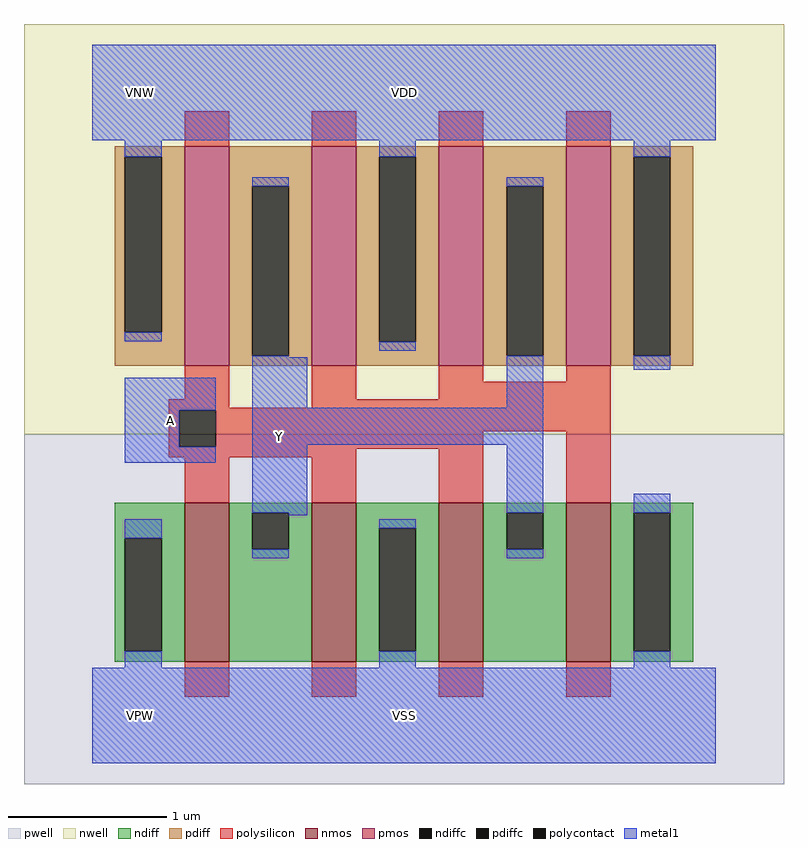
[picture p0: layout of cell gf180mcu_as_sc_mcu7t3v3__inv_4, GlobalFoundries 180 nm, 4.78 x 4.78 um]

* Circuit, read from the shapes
.subckt gf180mcu_as_sc_mcu7t3v3__inv_4 VDD VNW VPW VSS Y A
XM1 Y A VSS VPW nfet_03v3 w=1u l=0.28u m=4
XM2 Y A VDD VNW pfet_03v3 w=1.38u l=0.28u m=4
.ends

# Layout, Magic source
magic
tech gf180mcuD
magscale 1 10
<< nwell >>
rect -86 354 870 870
<< pwell >>
rect -86 -86 870 354
<< nmos >>
rect 116 68 172 268
rect 276 68 332 268
rect 436 68 492 268
rect 596 68 652 268
<< pmos >>
rect 116 440 172 716
rect 276 440 332 716
rect 436 440 492 716
rect 596 440 652 716
<< ndiff >>
rect 28 223 116 268
rect 28 81 41 223
rect 87 81 116 223
rect 28 68 116 81
rect 172 255 276 268
rect 172 209 201 255
rect 247 209 276 255
rect 172 68 276 209
rect 332 236 436 268
rect 332 81 361 236
rect 407 81 436 236
rect 332 68 436 81
rect 492 255 596 268
rect 492 209 521 255
rect 567 209 596 255
rect 492 68 596 209
rect 652 255 756 268
rect 652 81 681 255
rect 727 81 756 255
rect 652 68 756 81
<< pdiff >>
rect 28 703 116 716
rect 28 482 41 703
rect 87 482 116 703
rect 28 440 116 482
rect 172 666 276 716
rect 172 453 201 666
rect 247 453 276 666
rect 172 440 276 453
rect 332 703 436 716
rect 332 470 361 703
rect 407 470 436 703
rect 332 440 436 470
rect 492 666 596 716
rect 492 453 521 666
rect 567 453 596 666
rect 492 440 596 453
rect 652 703 756 716
rect 652 453 681 703
rect 727 453 756 703
rect 652 440 756 453
<< ndiffc >>
rect 41 81 87 223
rect 201 209 247 255
rect 361 81 407 236
rect 521 209 567 255
rect 681 81 727 255
<< pdiffc >>
rect 41 482 87 703
rect 201 453 247 666
rect 361 470 407 703
rect 521 453 567 666
rect 681 453 727 703
<< polysilicon >>
rect 116 716 172 760
rect 276 716 332 760
rect 436 716 492 760
rect 596 716 652 760
rect 116 398 172 440
rect 96 387 172 398
rect 276 398 332 440
rect 436 420 492 440
rect 596 420 652 440
rect 436 398 652 420
rect 276 387 652 398
rect 96 384 652 387
rect 96 338 109 384
rect 155 358 652 384
rect 155 338 492 358
rect 96 336 492 338
rect 96 325 332 336
rect 116 268 172 325
rect 276 268 332 325
rect 436 268 492 336
rect 596 268 652 358
rect 116 24 172 68
rect 276 24 332 68
rect 436 24 492 68
rect 596 24 652 68
<< polycontact >>
rect 109 338 155 384
<< metal1 >>
rect 0 724 784 844
rect 41 703 87 724
rect 361 703 407 724
rect 41 471 87 482
rect 201 666 247 677
rect 681 703 727 724
rect 361 459 407 470
rect 521 666 567 677
rect 201 451 247 453
rect 41 384 155 425
rect 41 338 109 384
rect 41 318 155 338
rect 201 387 270 451
rect 521 387 567 453
rect 681 435 727 453
rect 201 341 567 387
rect 201 255 270 341
rect 41 223 87 247
rect 247 252 270 255
rect 521 255 567 341
rect 201 198 247 209
rect 361 236 407 247
rect 41 60 87 81
rect 521 198 567 209
rect 681 255 727 279
rect 361 60 407 81
rect 681 60 727 81
rect 0 -60 784 60
<< labels >>
flabel metal1 s 0 724 784 844 0 FreeSans 400 0 0 0 VDD
port 1 nsew power bidirectional abutment
flabel metal1 s 0 -60 784 60 0 FreeSans 400 0 0 0 VSS
port 4 nsew ground bidirectional abutment
flabel nwell s 10 734 110 834 0 FreeSans 400 0 0 0 VNW
port 2 nsew power bidirectional
flabel pwell s 10 -50 110 50 0 FreeSans 400 0 0 0 VPW
port 3 nsew ground bidirectional
flabel metal1 201 252 270 451 0 FreeSans 200 0 0 0 Y
port 5 nsew signal output
flabel metal1 41 318 155 425 0 FreeSans 200 0 0 0 A
port 6 nsew signal input
<< properties >>
string FIXED_BBOX 0 0 784 784
string LEFclass CORE
string LEFsite unithd
string LEFsymmetry X Y
string MASKHINTS_NPLUS -16 -46 800 354
string MASKHINTS_PPLUS -16 354 800 830
<< end >>
